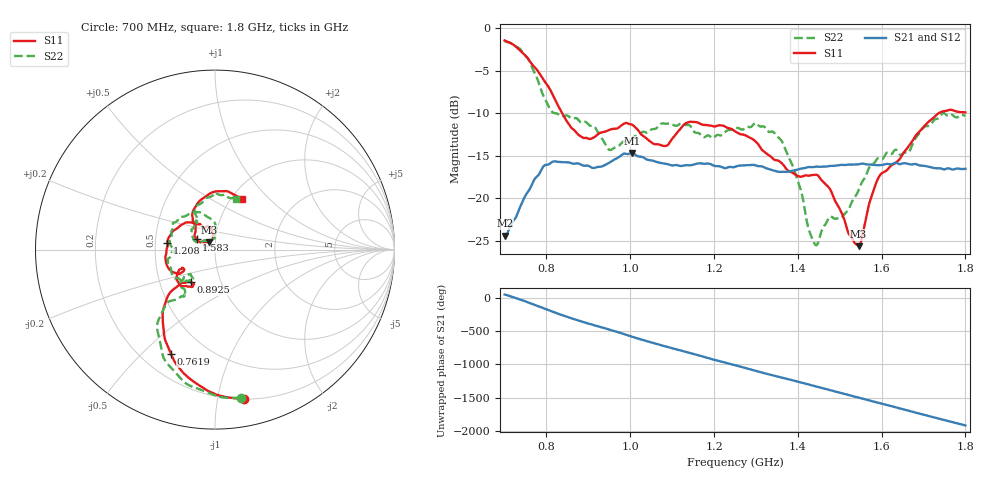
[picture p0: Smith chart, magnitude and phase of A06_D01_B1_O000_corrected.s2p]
! Created with skrf 1.9.0 (http://scikit-rf.org).
# Hz S RI R 50.0
!freq ReS11 ImS11 ReS21 ImS21 ReS12 ImS12 ReS22 ImS22
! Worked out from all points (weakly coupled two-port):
!   1601 points, 700 MHz to 1.8 GHz, reference 50 ohm
!   highest |S21| = -14.66 dB at 1.005 GHz (marker M1); lowest = -24.4 dB at 700.7 MHz (marker M2)
!   lowest |S11| = -25.6 dB at 1.545 GHz (marker M3), VSWR 1.11, Z = 46.7 + j3.89 ohm
!   |S11| at or under -10 dB: 837.6 MHz to 1.735 GHz (897.7 MHz wide, 69.8 % of centre)
!   |S22| runs from -25.5 to -1.5 dB; largest |S21 - S12| = 0.0038
!   S11 on the Smith chart (normalised r, x): 700 MHz: 0.20, -1.19; 761.9 MHz: 0.32, -0.62; 892.5 MHz: 0.72, -0.28; 1.208 GHz: 0.58, +0.04; 1.583 GHz: 0.81, +0.09; 1.8 GHz: 1.12, +0.70
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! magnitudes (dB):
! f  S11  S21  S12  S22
! 700 MHz  -1.4  -24.4  -24.2  -1.5
! 700.7 MHz  -1.4  -24.4  -24.1  -1.5
! 761.9 MHz  -4.0  -18.7  -18.7  -4.2
! 812.1 MHz  -7.5  -15.8  -15.7  -9.8
! 883.6 MHz  -12.8  -16.1  -15.9  -11.1
! 892.5 MHz  -12.9  -16.2  -16.2  -11.0
! 950.9 MHz  -11.9  -15.8  -15.8  -14.3
! 1.005 GHz  -11.3  -14.7  -14.8  -12.9
! 1.067 GHz  -13.6  -15.8  -15.7  -11.5
! 1.138 GHz  -11.1  -16.1  -16.1  -11.4
! 1.208 GHz  -11.4  -16.2  -16.2  -12.5
! 1.25 GHz  -12.1  -16.3  -16.2  -11.8
! 1.36 GHz  -15.8  -16.9  -16.9  -13.1
! 1.403 GHz  -17.4  -16.5  -16.6  -18.5
! 1.434 GHz  -17.3  -16.3  -16.3  -24.6
! 1.476 GHz  -18.8  -16.2  -16.2  -22.2
! 1.545 GHz  -25.6  -16.0  -15.9  -19.0
! 1.583 GHz  -18.6  -16.1  -16.1  -15.8
! 1.617 GHz  -16.4  -16.0  -15.9  -14.7
! 1.663 GHz  -14.0  -15.9  -15.9  -14.6
! 1.735 GHz  -10.0  -16.4  -16.5  -10.6
! 1.8 GHz  -9.9  -16.5  -16.5  -10.3
